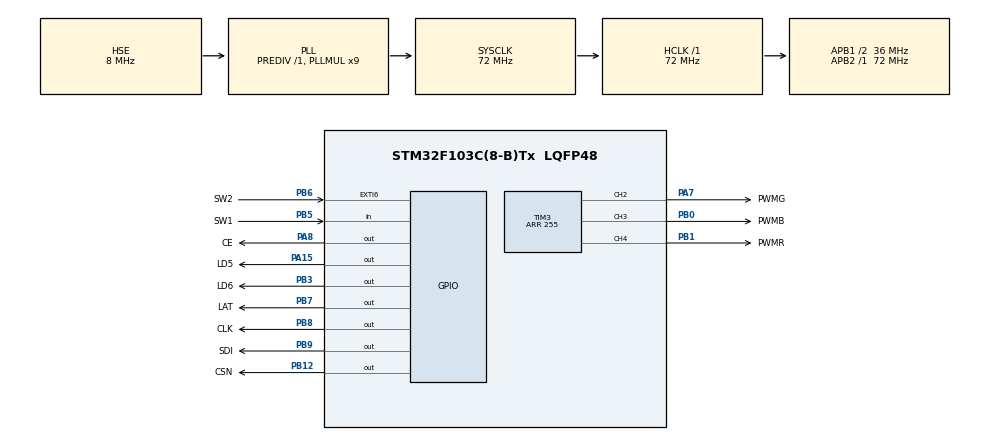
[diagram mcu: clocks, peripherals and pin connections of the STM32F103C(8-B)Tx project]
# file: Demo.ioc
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Mcu.Family=STM32F1
Mcu.Name=STM32F103C(8-B)Tx
Mcu.Package=LQFP48
NVIC.EXTI9_5_IRQn=true\:1\:0\:true\:false\:true\:true\:true
NVIC.PriorityGroup=NVIC_PRIORITYGROUP_4
PA0-WKUP.GPIO_Label=POT3
PA0-WKUP.Signal=ADCx_IN0
PA1.GPIO_Label=POT2
PA1.Signal=ADCx_IN1
PA13.GPIO_Label=SWDIO
PA13.Mode=Serial_Wire
PA13.Signal=SYS_JTMS-SWDIO
PA14.GPIO_Label=SWCLK
PA14.Mode=Serial_Wire
PA14.Signal=SYS_JTCK-SWCLK
PA15.GPIO_Label=LD5
PA15.GPIO_Speed=GPIO_SPEED_FREQ_HIGH
PA15.Signal=GPIO_Output
PA5.GPIO_Label=POT1
PA5.Signal=ADCx_IN5
PA6.GPIO_Label=Temp
PA6.Signal=ADCx_IN6
PA7.GPIO_Label=PWMG
PA7.Signal=S_TIM3_CH2
PA8.GPIO_Label=CE
PA8.GPIO_Speed=GPIO_SPEED_FREQ_HIGH
PA8.Signal=GPIO_Output
PB0.GPIO_Label=PWMB
PB0.Signal=S_TIM3_CH3
PB1.GPIO_Label=PWMR
PB1.Signal=S_TIM3_CH4
PB12.GPIO_Label=CSN
PB12.GPIO_Speed=GPIO_SPEED_FREQ_HIGH
PB12.Signal=GPIO_Output
PB13.GPIO_Label=SCK
PB13.Signal=SPI2_SCK
PB14.GPIO_Label=MISO
PB14.Signal=SPI2_MISO
PB15.GPIO_Label=MOSI
PB15.Signal=SPI2_MOSI
PB3.GPIO_Label=LD6
PB3.GPIO_Speed=GPIO_SPEED_FREQ_HIGH
PB3.Signal=GPIO_Output
PB5.GPIO_Label=SW1
PB5.Signal=GPIO_Input
PB6.GPIO_Label=SW2
PB6.Signal=GPXTI6
PB7.GPIO_Label=LAT
PB7.GPIO_ModeDefaultOutputPP=GPIO_MODE_OUTPUT_OD
PB7.GPIO_PuPd=GPIO_NOPULL
PB7.GPIO_Speed=GPIO_SPEED_FREQ_HIGH
PB7.PinState=GPIO_PIN_RESET
PB7.Signal=GPIO_Output
PB8.GPIO_Label=CLK
PB8.GPIO_ModeDefaultOutputPP=GPIO_MODE_OUTPUT_OD
PB8.GPIO_PuPd=GPIO_NOPULL
PB8.GPIO_Speed=GPIO_SPEED_FREQ_HIGH
PB8.PinState=GPIO_PIN_RESET
PB8.Signal=GPIO_Output
PB9.GPIO_Label=SDI
PB9.GPIO_ModeDefaultOutputPP=GPIO_MODE_OUTPUT_OD
PB9.GPIO_PuPd=GPIO_NOPULL
PB9.GPIO_Speed=GPIO_SPEED_FREQ_HIGH
PB9.PinState=GPIO_PIN_RESET
PB9.Signal=GPIO_Output
PD0-OSC_IN.GPIO_Label=OSC_IN
PD0-OSC_IN.Mode=HSE-External-Oscillator
PD0-OSC_IN.Signal=RCC_OSC_IN
PD1-OSC_OUT.GPIO_Label=OSC_OUT
PD1-OSC_OUT.Mode=HSE-External-Oscillator
PD1-OSC_OUT.Signal=RCC_OSC_OUT
ProjectManager.HeapSize=0x200
ProjectManager.StackSize=0x400
ProjectManager.TargetToolchain=MDK-ARM V5
RCC.ADCPresc=RCC_ADCPCLK2_DIV6
RCC.AHBFreq_Value=72000000
RCC.APB1CLKDivider=RCC_HCLK_DIV2
RCC.APB1Freq_Value=36000000
RCC.APB1TimFreq_Value=72000000
RCC.APB2Freq_Value=72000000
RCC.APB2TimFreq_Value=72000000
RCC.HCLKFreq_Value=72000000
RCC.PLLMUL=RCC_PLL_MUL9
RCC.PLLSourceVirtual=RCC_PLLSOURCE_HSE
RCC.SYSCLKFreq_VALUE=72000000
RCC.SYSCLKSource=RCC_SYSCLKSOURCE_PLLCLK
RCC.USBFreq_Value=72000000
SH.ADCx_IN0.0=ADC1_IN0
SH.ADCx_IN1.0=ADC1_IN1
SH.ADCx_IN5.0=ADC1_IN5
SH.ADCx_IN6.0=ADC1_IN6
SH.S_TIM3_CH2.0=TIM3_CH2,PWM Generation2 CH2
SH.S_TIM3_CH3.0=TIM3_CH3,PWM Generation3 CH3
SH.S_TIM3_CH4.0=TIM3_CH4,PWM Generation4 CH4
TIM3.Channel-PWM\ Generation2\ CH2=TIM_CHANNEL_2
TIM3.Channel-PWM\ Generation3\ CH3=TIM_CHANNEL_3
TIM3.Channel-PWM\ Generation4\ CH4=TIM_CHANNEL_4
TIM3.Period=255
VP_TIM3_VS_ClockSourceINT.Mode=Internal
board=custom

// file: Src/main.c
/* USER CODE BEGIN Header */
/**
  ******************************************************************************
  * @file           : main.c
  * @brief          : Main program body
  ******************************************************************************
  * @attention
  *
  * <h2><center>&copy; Copyright (c) 2020 STMicroelectronics.
  * All rights reserved.</center></h2>
  *
  * This software component is licensed by ST under BSD 3-Clause license,
  * the "License"; You may not use this file except in compliance with the
  * License. You may obtain a copy of the License at:
  *                        opensource.org/licenses/BSD-3-Clause
  *
  ******************************************************************************
  */
/* USER CODE END Header */

#include "main.h"
#include "tim.h"
#include "gpio.h"

/* USER CODE BEGIN Includes */
#include "../../bsp/display.h"
#include "../../bsp/pixel.h"
/* USER CODE END Includes */

/* USER CODE BEGIN PV */
volatile HSV pixel = { .s = 1, .v = 0.3 };
/* USER CODE END PV */

void SystemClock_Config(void);

/* USER CODE BEGIN 0 */
void HAL_SYSTICK_Callback(void)
{
	DisplayRun();
	pixel.h = HAL_GetTick() / 10 % 360;
	PixelHSV(pixel);
}
/* USER CODE END 0 */

int main(void)
{

  /* MCU Configuration--------------------------------------------------------*/

  /* Reset of all peripherals, Initializes the Flash interface and the Systick. */
  HAL_Init();

  /* Configure the system clock */
  SystemClock_Config();

  /* Initialize all configured peripherals */
  MX_GPIO_Init();
  MX_TIM3_Init();
  /* USER CODE BEGIN 2 */
	HAL_Delay(100);
	PixelInit();
	DisplayString("52.30");
	DISPLAYLED leds[] = { LED_UL, LED_BL, LED_BR, LED_UR };
	int led_state = 1;
  /* USER CODE END 2 */

  /* Infinite loop */
  /* USER CODE BEGIN WHILE */
  while (1)
  {
		for (int i = 0; i < 4; i++)
		{
			DisplayLed(leds[i], led_state);
			HAL_Delay(300);
		}
		led_state = !led_state;
    /* USER CODE END WHILE */

  }
}

void SystemClock_Config(void)
{
  RCC_OscInitTypeDef RCC_OscInitStruct = {0};
  RCC_ClkInitTypeDef RCC_ClkInitStruct = {0};

  /** Initializes the CPU, AHB and APB busses clocks
  */
  RCC_OscInitStruct.OscillatorType = RCC_OSCILLATORTYPE_HSE;
  RCC_OscInitStruct.HSEState = RCC_HSE_ON;
  RCC_OscInitStruct.HSEPredivValue = RCC_HSE_PREDIV_DIV1;
  RCC_OscInitStruct.HSIState = RCC_HSI_ON;
  RCC_OscInitStruct.PLL.PLLState = RCC_PLL_ON;
  RCC_OscInitStruct.PLL.PLLSource = RCC_PLLSOURCE_HSE;
  RCC_OscInitStruct.PLL.PLLMUL = RCC_PLL_MUL9;
  if (HAL_RCC_OscConfig(&RCC_OscInitStruct) != HAL_OK)
  {
    Error_Handler();
  }
  /** Initializes the CPU, AHB and APB busses clocks
  */
  RCC_ClkInitStruct.ClockType = RCC_CLOCKTYPE_HCLK|RCC_CLOCKTYPE_SYSCLK
                              |RCC_CLOCKTYPE_PCLK1|RCC_CLOCKTYPE_PCLK2;
  RCC_ClkInitStruct.SYSCLKSource = RCC_SYSCLKSOURCE_PLLCLK;
  RCC_ClkInitStruct.AHBCLKDivider = RCC_SYSCLK_DIV1;
  RCC_ClkInitStruct.APB1CLKDivider = RCC_HCLK_DIV2;
  RCC_ClkInitStruct.APB2CLKDivider = RCC_HCLK_DIV1;

  if (HAL_RCC_ClockConfig(&RCC_ClkInitStruct, FLASH_LATENCY_2) != HAL_OK)
  {
    Error_Handler();
  }
}

void Error_Handler(void)
{
}

/************************ (C) COPYRIGHT STMicroelectronics *****END OF FILE****/
